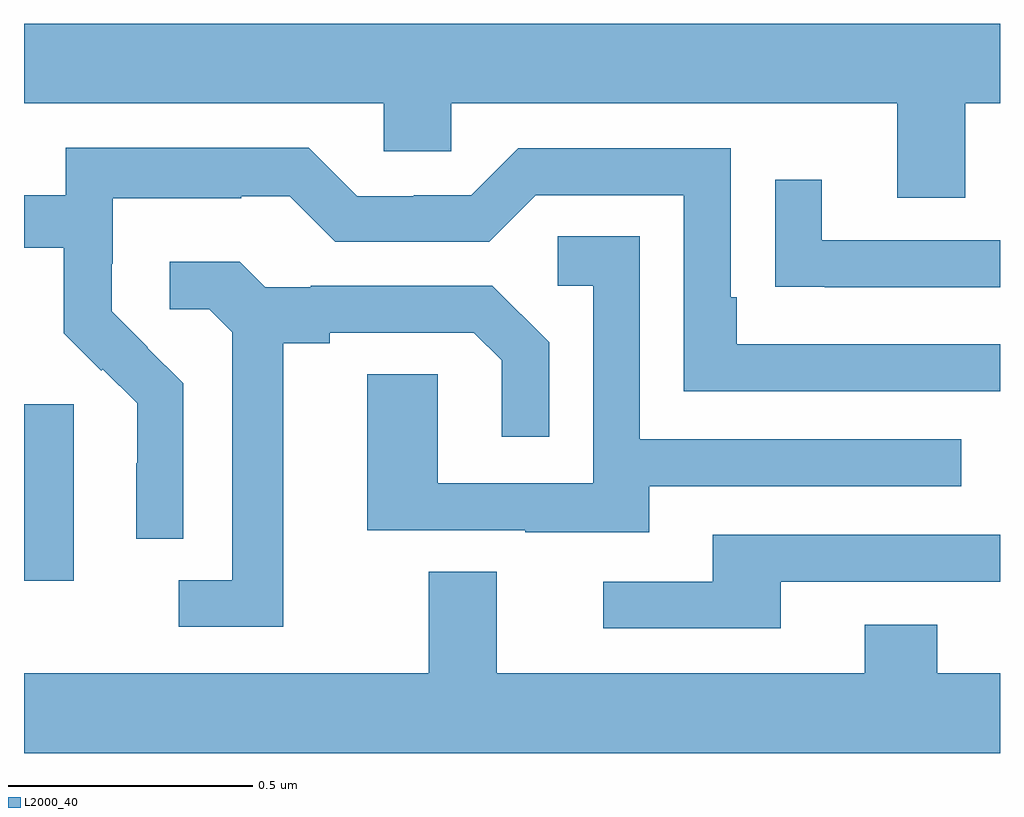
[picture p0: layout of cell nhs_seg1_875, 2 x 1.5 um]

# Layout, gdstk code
import gdstk
lib = gdstk.Library(unit=1e-6, precision=1e-09)
def R(c, l, rs):  # rectangles x0, y0, x1, y1
    for r in rs: c.add(gdstk.rectangle(r[:2], r[2:], *l))
def P(c, l, *ps):  # polygons
    for p in ps: c.add(gdstk.Polygon(p, *l))
L2000_40 = (2000, 40)

nhs_seg1_875 = lib.new_cell('nhs_seg1_875')
R(nhs_seg1_875, L2000_40, [(121,580.058,121.102,580.419)])
P(nhs_seg1_875, L2000_40, [(122.929,581.036),(123,581.036),(123,581.199),(121,581.199),(121,581.036),(121.737,581.036),(121.737,580.938),(121.875,580.938),(121.875,581.036),(122.789,581.036),(122.789,580.842),(122.929,580.842)],
  [(121.326,580.462),(121.253,580.535),(121.254,580.536),(121.18,580.61),(121.18,580.707),(121.182,580.707),(121.182,580.841),(121.445,580.841),(121.445,580.845),(121.545,580.845),(121.638,580.752),(121.953,580.752),(122.049,580.848),(122.352,580.848),(122.352,580.446),(123,580.446),(123,580.542),(122.461,580.542),(122.461,580.639),(122.448,580.639),(122.448,580.944),(122.013,580.944),(121.917,580.848),(121.799,580.848),(121.799,580.845),(121.683,580.845),(121.583,580.945),(121.086,580.945),(121.086,580.848),(121,580.848),(121,580.74),(121.081,580.74),(121.081,580.565),(121.158,580.488),(121.161,580.491),(121.232,580.421),(121.232,580.298),(121.23,580.298),(121.23,580.144),(121.326,580.144)],
  [(123,580.755),(122.635,580.755),(122.635,580.879),(122.539,580.879),(122.539,580.66),(122.641,580.66),(122.641,580.659),(123,580.659)],
  [(122.281,580.251),(122.921,580.251),(122.921,580.347),(122.262,580.347),(122.262,580.763),(122.094,580.763),(122.094,580.662),(122.166,580.662),(122.166,580.257),(121.848,580.257),(121.848,580.481),(121.703,580.481),(121.703,580.161),(122.027,580.161),(122.027,580.157),(122.281,580.157)],
  [(121.531,580.544),(121.627,580.544),(121.627,580.566),(121.922,580.566),(121.979,580.509),(121.979,580.353),(122.076,580.353),(122.076,580.546),(121.96,580.662),(121.588,580.662),(121.588,580.659),(121.494,580.659),(121.442,580.711),(121.299,580.711),(121.299,580.614),(121.38,580.614),(121.427,580.567),(121.427,580.059),(121.317,580.059),(121.317,579.963),(121.531,579.963)],
  [(122.551,580.056),(123,580.056),(123,580.152),(122.411,580.152),(122.411,580.056),(122.187,580.056),(122.187,579.96),(122.551,579.96)],
  [(123,579.868),(122.871,579.868),(122.871,579.967),(122.723,579.967),(122.723,579.868),(121.969,579.868),(121.969,580.076),(121.829,580.076),(121.829,579.868),(121,579.868),(121,579.704),(123,579.704)])

lib.write_gds('nhs_seg1_875.gds')
